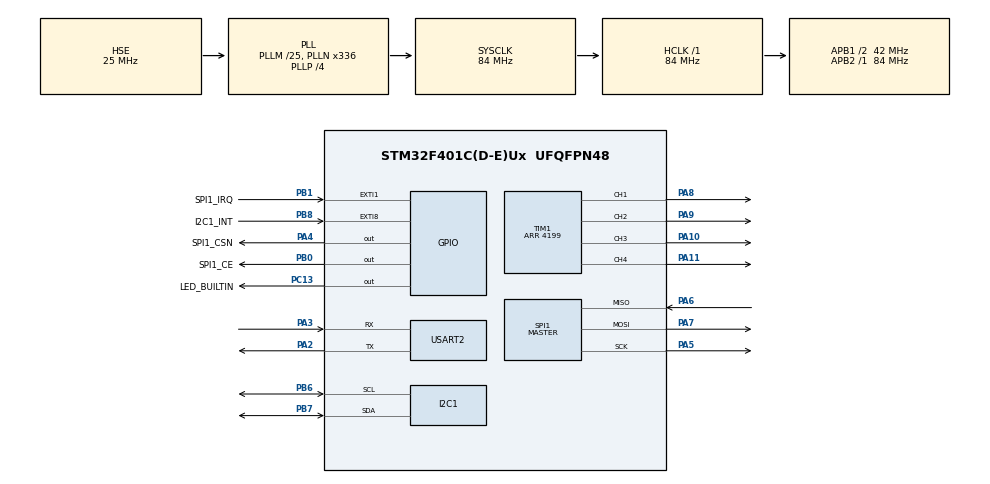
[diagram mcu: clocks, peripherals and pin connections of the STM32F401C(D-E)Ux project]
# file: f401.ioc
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Mcu.Family=STM32F4
Mcu.Name=STM32F401C(D-E)Ux
Mcu.Package=UFQFPN48
NVIC.PriorityGroup=NVIC_PRIORITYGROUP_4
PA10.Signal=S_TIM1_CH3
PA11.Signal=S_TIM1_CH4
PA2.Mode=Asynchronous
PA2.Signal=USART2_TX
PA3.Mode=Asynchronous
PA3.Signal=USART2_RX
PA4.GPIO_Label=SPI1_CSN
PA4.Signal=GPIO_Output
PA5.Mode=Full_Duplex_Master
PA5.Signal=SPI1_SCK
PA6.Mode=Full_Duplex_Master
PA6.Signal=SPI1_MISO
PA7.Mode=Full_Duplex_Master
PA7.Signal=SPI1_MOSI
PA8.Signal=S_TIM1_CH1
PA9.Signal=S_TIM1_CH2
PB0.GPIO_Label=SPI1_CE
PB0.Signal=GPIO_Output
PB1.GPIO_Label=SPI1_IRQ
PB1.Signal=GPXTI1
PB6.Mode=I2C
PB6.Signal=I2C1_SCL
PB7.Mode=I2C
PB7.Signal=I2C1_SDA
PB8.GPIO_Label=I2C1_INT
PB8.Signal=GPXTI8
PC13-ANTI_TAMP.GPIO_Label=LED_BUILTIN
PC13-ANTI_TAMP.Signal=GPIO_Output
PC14-OSC32_IN.Mode=LSE-External-Oscillator
PC14-OSC32_IN.Signal=RCC_OSC32_IN
PC15-OSC32_OUT.Mode=LSE-External-Oscillator
PC15-OSC32_OUT.Signal=RCC_OSC32_OUT
PH0\ -\ OSC_IN.Mode=HSE-External-Oscillator
PH0\ -\ OSC_IN.Signal=RCC_OSC_IN
PH1\ -\ OSC_OUT.Mode=HSE-External-Oscillator
PH1\ -\ OSC_OUT.Signal=RCC_OSC_OUT
ProjectManager.HeapSize=0x200
ProjectManager.StackSize=0x400
ProjectManager.TargetToolchain=STM32CubeIDE
RCC.48MHZClocksFreq_Value=84000000
RCC.AHBFreq_Value=84000000
RCC.APB1CLKDivider=RCC_HCLK_DIV2
RCC.APB1Freq_Value=42000000
RCC.APB1TimFreq_Value=84000000
RCC.APB2Freq_Value=84000000
RCC.APB2TimFreq_Value=84000000
RCC.CortexFreq_Value=84000000
RCC.HCLKFreq_Value=84000000
RCC.HSE_VALUE=25000000
RCC.HSI_VALUE=16000000
RCC.PLLM=25
RCC.PLLN=336
RCC.PLLP=RCC_PLLP_DIV4
RCC.PLLSourceVirtual=RCC_PLLSOURCE_HSE
RCC.SYSCLKFreq_VALUE=84000000
RCC.SYSCLKSource=RCC_SYSCLKSOURCE_PLLCLK
RCC.VCOOutputFreq_Value=336000000
SH.S_TIM1_CH1.0=TIM1_CH1,PWM Generation1 CH1
SH.S_TIM1_CH2.0=TIM1_CH2,PWM Generation2 CH2
SH.S_TIM1_CH3.0=TIM1_CH3,PWM Generation3 CH3
SH.S_TIM1_CH4.0=TIM1_CH4,PWM Generation4 CH4
SPI1.Direction=SPI_DIRECTION_2LINES
SPI1.Mode=SPI_MODE_MASTER
SPI1.VirtualType=VM_MASTER
TIM1.Channel-PWM\ Generation1\ CH1=TIM_CHANNEL_1
TIM1.Channel-PWM\ Generation2\ CH2=TIM_CHANNEL_2
TIM1.Channel-PWM\ Generation3\ CH3=TIM_CHANNEL_3
TIM1.Channel-PWM\ Generation4\ CH4=TIM_CHANNEL_4
TIM1.Period=4199
USART2.VirtualMode=VM_ASYNC
board=custom

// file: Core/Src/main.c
/* USER CODE BEGIN Header */
/**
  ******************************************************************************
  * @file           : main.c
  * @brief          : Main program body
  ******************************************************************************
  * @attention
  *
  * Copyright (c) 2026 STMicroelectronics.
  * All rights reserved.
  *
  * This software is licensed under terms that can be found in the LICENSE file
  * in the root directory of this software component.
  * If no LICENSE file comes with this software, it is provided AS-IS.
  *
  ******************************************************************************
  */
/* USER CODE END Header */
#include "main.h"

/* USER CODE BEGIN Includes */
#include "motor_control.h"
#include "imu.h"
/* USER CODE END Includes */

I2C_HandleTypeDef hi2c1;

SPI_HandleTypeDef hspi1;

TIM_HandleTypeDef htim1;

UART_HandleTypeDef huart2;

void SystemClock_Config(void);
static void MX_GPIO_Init(void);
static void MX_I2C1_Init(void);
static void MX_SPI1_Init(void);
static void MX_USART2_UART_Init(void);
static void MX_TIM1_Init(void);
/* USER CODE BEGIN PFP */
// editing this __io_putchar() enables using printf to print text over a serial monitor
int __io_putchar(int ch) {
	HAL_UART_Transmit(&huart2, (uint8_t *)&ch, 1, HAL_MAX_DELAY);
	return ch;
}
/* USER CODE END PFP */

int main(void)
{

  /* MCU Configuration--------------------------------------------------------*/

  /* Reset of all peripherals, Initializes the Flash interface and the Systick. */
  HAL_Init();

  /* Configure the system clock */
  SystemClock_Config();

  /* USER CODE BEGIN SysInit */
  Motor_Init();
  IMU_Init();
  /* USER CODE END SysInit */

  /* Initialize all configured peripherals */
  MX_GPIO_Init();
  MX_I2C1_Init();
  MX_SPI1_Init();
  MX_USART2_UART_Init();
  MX_TIM1_Init();
  /* USER CODE BEGIN 2 */
  // Lazy Init status (If it reaches this point then everything must be okay
  printf("[INIT]\nI2C1 OK\nUART1 OK\nSPI1 OK\n");

  while (1)
  {
	static uint32_t start_time = 0;
	static uint32_t sample_count = 0;

	IMU_Data imu;

	IMU_Read(&imu);   // reads ax, ay, az, gx, gy, gz

	sample_count++;

	if (start_time == 0)
	{
		start_time = HAL_GetTick();
	}

	if ((HAL_GetTick() - start_time) >= 1000)
	{
		printf("IMU Poll Rate: %lu Hz\r\n", sample_count);

		sample_count = 0;
		start_time = HAL_GetTick();
	}
  }
  /* USER CODE END 2 */

  /* Infinite loop */
  /* USER CODE BEGIN WHILE */
//  while (1)
//  {
    /* USER CODE END WHILE */

    /* USER CODE BEGIN 3 */
//  }
  /* USER CODE END 3 */
}

void SystemClock_Config(void)
{
  RCC_OscInitTypeDef RCC_OscInitStruct = {0};
  RCC_ClkInitTypeDef RCC_ClkInitStruct = {0};

  /** Configure the main internal regulator output voltage
  */
  __HAL_RCC_PWR_CLK_ENABLE();
  __HAL_PWR_VOLTAGESCALING_CONFIG(PWR_REGULATOR_VOLTAGE_SCALE2);

  /** Initializes the RCC Oscillators according to the specified parameters
  * in the RCC_OscInitTypeDef structure.
  */
  RCC_OscInitStruct.OscillatorType = RCC_OSCILLATORTYPE_HSE;
  RCC_OscInitStruct.HSEState = RCC_HSE_ON;
  RCC_OscInitStruct.PLL.PLLState = RCC_PLL_ON;
  RCC_OscInitStruct.PLL.PLLSource = RCC_PLLSOURCE_HSE;
  RCC_OscInitStruct.PLL.PLLM = 25;
  RCC_OscInitStruct.PLL.PLLN = 336;
  RCC_OscInitStruct.PLL.PLLP = RCC_PLLP_DIV4;
  RCC_OscInitStruct.PLL.PLLQ = 4;
  if (HAL_RCC_OscConfig(&RCC_OscInitStruct) != HAL_OK)
  {
    Error_Handler();
  }

  /** Initializes the CPU, AHB and APB buses clocks
  */
  RCC_ClkInitStruct.ClockType = RCC_CLOCKTYPE_HCLK|RCC_CLOCKTYPE_SYSCLK
                              |RCC_CLOCKTYPE_PCLK1|RCC_CLOCKTYPE_PCLK2;
  RCC_ClkInitStruct.SYSCLKSource = RCC_SYSCLKSOURCE_PLLCLK;
  RCC_ClkInitStruct.AHBCLKDivider = RCC_SYSCLK_DIV1;
  RCC_ClkInitStruct.APB1CLKDivider = RCC_HCLK_DIV2;
  RCC_ClkInitStruct.APB2CLKDivider = RCC_HCLK_DIV1;

  if (HAL_RCC_ClockConfig(&RCC_ClkInitStruct, FLASH_LATENCY_2) != HAL_OK)
  {
    Error_Handler();
  }
}

static void MX_I2C1_Init(void)
{

  hi2c1.Instance = I2C1;
  hi2c1.Init.ClockSpeed = 100000;
  hi2c1.Init.DutyCycle = I2C_DUTYCYCLE_2;
  hi2c1.Init.OwnAddress1 = 0;
  hi2c1.Init.AddressingMode = I2C_ADDRESSINGMODE_7BIT;
  hi2c1.Init.DualAddressMode = I2C_DUALADDRESS_DISABLE;
  hi2c1.Init.OwnAddress2 = 0;
  hi2c1.Init.GeneralCallMode = I2C_GENERALCALL_DISABLE;
  hi2c1.Init.NoStretchMode = I2C_NOSTRETCH_DISABLE;
  if (HAL_I2C_Init(&hi2c1) != HAL_OK)
  {
    Error_Handler();
  }

}

static void MX_SPI1_Init(void)
{

  /* SPI1 parameter configuration*/
  hspi1.Instance = SPI1;
  hspi1.Init.Mode = SPI_MODE_MASTER;
  hspi1.Init.Direction = SPI_DIRECTION_2LINES;
  hspi1.Init.DataSize = SPI_DATASIZE_8BIT;
  hspi1.Init.CLKPolarity = SPI_POLARITY_LOW;
  hspi1.Init.CLKPhase = SPI_PHASE_1EDGE;
  hspi1.Init.NSS = SPI_NSS_SOFT;
  hspi1.Init.BaudRatePrescaler = SPI_BAUDRATEPRESCALER_2;
  hspi1.Init.FirstBit = SPI_FIRSTBIT_MSB;
  hspi1.Init.TIMode = SPI_TIMODE_DISABLE;
  hspi1.Init.CRCCalculation = SPI_CRCCALCULATION_DISABLE;
  hspi1.Init.CRCPolynomial = 10;
  if (HAL_SPI_Init(&hspi1) != HAL_OK)
  {
    Error_Handler();
  }

}

static void MX_TIM1_Init(void)
{

  TIM_MasterConfigTypeDef sMasterConfig = {0};
  TIM_OC_InitTypeDef sConfigOC = {0};
  TIM_BreakDeadTimeConfigTypeDef sBreakDeadTimeConfig = {0};

  htim1.Instance = TIM1;
  htim1.Init.Prescaler = 0;
  htim1.Init.CounterMode = TIM_COUNTERMODE_UP;
  htim1.Init.Period = 4199;
  htim1.Init.ClockDivision = TIM_CLOCKDIVISION_DIV1;
  htim1.Init.RepetitionCounter = 0;
  htim1.Init.AutoReloadPreload = TIM_AUTORELOAD_PRELOAD_DISABLE;
  if (HAL_TIM_PWM_Init(&htim1) != HAL_OK)
  {
    Error_Handler();
  }
  sMasterConfig.MasterOutputTrigger = TIM_TRGO_RESET;
  sMasterConfig.MasterSlaveMode = TIM_MASTERSLAVEMODE_DISABLE;
  if (HAL_TIMEx_MasterConfigSynchronization(&htim1, &sMasterConfig) != HAL_OK)
  {
    Error_Handler();
  }
  sConfigOC.OCMode = TIM_OCMODE_PWM1;
  sConfigOC.Pulse = 0;
  sConfigOC.OCPolarity = TIM_OCPOLARITY_HIGH;
  sConfigOC.OCNPolarity = TIM_OCNPOLARITY_HIGH;
  sConfigOC.OCFastMode = TIM_OCFAST_DISABLE;
  sConfigOC.OCIdleState = TIM_OCIDLESTATE_RESET;
  sConfigOC.OCNIdleState = TIM_OCNIDLESTATE_RESET;
  if (HAL_TIM_PWM_ConfigChannel(&htim1, &sConfigOC, TIM_CHANNEL_1) != HAL_OK)
  {
    Error_Handler();
  }
  if (HAL_TIM_PWM_ConfigChannel(&htim1, &sConfigOC, TIM_CHANNEL_2) != HAL_OK)
  {
    Error_Handler();
  }
  if (HAL_TIM_PWM_ConfigChannel(&htim1, &sConfigOC, TIM_CHANNEL_3) != HAL_OK)
  {
    Error_Handler();
  }
  if (HAL_TIM_PWM_ConfigChannel(&htim1, &sConfigOC, TIM_CHANNEL_4) != HAL_OK)
  {
    Error_Handler();
  }
  sBreakDeadTimeConfig.OffStateRunMode = TIM_OSSR_DISABLE;
  sBreakDeadTimeConfig.OffStateIDLEMode = TIM_OSSI_DISABLE;
  sBreakDeadTimeConfig.LockLevel = TIM_LOCKLEVEL_OFF;
  sBreakDeadTimeConfig.DeadTime = 0;
  sBreakDeadTimeConfig.BreakState = TIM_BREAK_DISABLE;
  sBreakDeadTimeConfig.BreakPolarity = TIM_BREAKPOLARITY_HIGH;
  sBreakDeadTimeConfig.AutomaticOutput = TIM_AUTOMATICOUTPUT_DISABLE;
  if (HAL_TIMEx_ConfigBreakDeadTime(&htim1, &sBreakDeadTimeConfig) != HAL_OK)
  {
    Error_Handler();
  }
  HAL_TIM_MspPostInit(&htim1);

}

static void MX_USART2_UART_Init(void)
{

  huart2.Instance = USART2;
  huart2.Init.BaudRate = 115200;
  huart2.Init.WordLength = UART_WORDLENGTH_8B;
  huart2.Init.StopBits = UART_STOPBITS_1;
  huart2.Init.Parity = UART_PARITY_NONE;
  huart2.Init.Mode = UART_MODE_TX_RX;
  huart2.Init.HwFlowCtl = UART_HWCONTROL_NONE;
  huart2.Init.OverSampling = UART_OVERSAMPLING_16;
  if (HAL_UART_Init(&huart2) != HAL_OK)
  {
    Error_Handler();
  }

}

static void MX_GPIO_Init(void)
{
  GPIO_InitTypeDef GPIO_InitStruct = {0};

  /* GPIO Ports Clock Enable */
  __HAL_RCC_GPIOC_CLK_ENABLE();
  __HAL_RCC_GPIOH_CLK_ENABLE();
  __HAL_RCC_GPIOA_CLK_ENABLE();
  __HAL_RCC_GPIOB_CLK_ENABLE();

  /*Configure GPIO pin Output Level */
  HAL_GPIO_WritePin(LED_BUILTIN_GPIO_Port, LED_BUILTIN_Pin, GPIO_PIN_RESET);

  /*Configure GPIO pin Output Level */
  HAL_GPIO_WritePin(SPI1_CSN_GPIO_Port, SPI1_CSN_Pin, GPIO_PIN_RESET);

  /*Configure GPIO pin Output Level */
  HAL_GPIO_WritePin(SPI1_CE_GPIO_Port, SPI1_CE_Pin, GPIO_PIN_RESET);

  /*Configure GPIO pin : LED_BUILTIN_Pin */
  GPIO_InitStruct.Pin = LED_BUILTIN_Pin;
  GPIO_InitStruct.Mode = GPIO_MODE_OUTPUT_PP;
  GPIO_InitStruct.Pull = GPIO_NOPULL;
  GPIO_InitStruct.Speed = GPIO_SPEED_FREQ_LOW;
  HAL_GPIO_Init(LED_BUILTIN_GPIO_Port, &GPIO_InitStruct);

  /*Configure GPIO pin : SPI1_CSN_Pin */
  GPIO_InitStruct.Pin = SPI1_CSN_Pin;
  GPIO_InitStruct.Mode = GPIO_MODE_OUTPUT_PP;
  GPIO_InitStruct.Pull = GPIO_NOPULL;
  GPIO_InitStruct.Speed = GPIO_SPEED_FREQ_LOW;
  HAL_GPIO_Init(SPI1_CSN_GPIO_Port, &GPIO_InitStruct);

  /*Configure GPIO pin : SPI1_CE_Pin */
  GPIO_InitStruct.Pin = SPI1_CE_Pin;
  GPIO_InitStruct.Mode = GPIO_MODE_OUTPUT_PP;
  GPIO_InitStruct.Pull = GPIO_NOPULL;
  GPIO_InitStruct.Speed = GPIO_SPEED_FREQ_LOW;
  HAL_GPIO_Init(SPI1_CE_GPIO_Port, &GPIO_InitStruct);

  /*Configure GPIO pins : SPI1_IRQ_Pin I2C1_INT_Pin */
  GPIO_InitStruct.Pin = SPI1_IRQ_Pin|I2C1_INT_Pin;
  GPIO_InitStruct.Mode = GPIO_MODE_IT_RISING;
  GPIO_InitStruct.Pull = GPIO_NOPULL;
  HAL_GPIO_Init(GPIOB, &GPIO_InitStruct);

}

void Error_Handler(void)
{
  __disable_irq();
  while (1)
  {
  }
}
